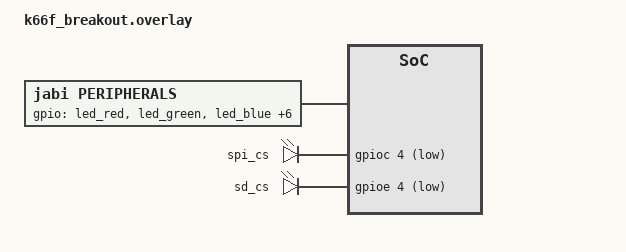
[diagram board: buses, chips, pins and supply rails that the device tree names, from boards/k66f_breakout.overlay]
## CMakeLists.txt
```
cmake_minimum_required(VERSION 3.20.0)

find_package(Zephyr REQUIRED HINTS $ENV{ZEPHYR_BASE})
project(jabi)

target_include_directories(app PRIVATE inc/)

FILE(GLOB_RECURSE app_sources src/*.c)
target_sources(app PRIVATE ${app_sources})

# can_mcan.c filters only work on ID and ID type and rest is done in software
# this is an issue if we want to receive FD and classic packets since one gets dropped
add_custom_target(
    apply_jabi_patch
    COMMAND git apply ${CMAKE_CURRENT_LIST_DIR}/zephyr.patch
    WORKING_DIRECTORY $ENV{ZEPHYR_BASE}
)
add_dependencies(version_h apply_jabi_patch)

add_custom_target(
    remove_jabi_patch ALL
    COMMAND git apply -R ${CMAKE_CURRENT_LIST_DIR}/zephyr.patch
    WORKING_DIRECTORY $ENV{ZEPHYR_BASE}
    DEPENDS zephyr_final
)
```

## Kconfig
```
menu "JABI"

config JABI_SERIAL
    string "device serial number string"
    default "69420"
    help
        must be non-empty

config JABI_USB_MPS
    int "max packet size of USB bulk transfers"
    default 512 if USB_DC_HAS_HS_SUPPORT
    default 64

config JABI_CAN_BUFFER_SIZE
    int "CAN buffer size"
    default 32
    help
        must be >0

config JABI_LIN_BUFFER_SIZE
    int "LIN buffer size"
    default 64
    help
        must be >0

config JABI_REQ_PAYLOAD_MAX_SIZE
    int "interface request payload maximum size"
    default 128
    help
        keep larger than largest packet (currently CAN)

config JABI_RESP_PAYLOAD_MAX_SIZE
    int "interface request payload maximum size"
    default 128
    help
        keep larger than largest packet (currently CAN)

config JABI_THREAD_STACK_SIZE
    int "stack size for interface threads"
    default 2048
    help
        make sure enough to hold request/response and the peripherals
        (tip: start this large and then reduce until it crashes)

config JABI_UART_RX_BUFFER_SIZE
    int "uart rx queue buffer size"
    default 256
    help
        keep larger than JABI_RESP_PAYLOAD_MAX_SIZE so can initiate reads
        that are that large

endmenu

menu "Zephyr"
source "Kconfig.zephyr"
endmenu
```

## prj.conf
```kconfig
CONFIG_COMMON_LIBC_MALLOC_ARENA_SIZE=512
```

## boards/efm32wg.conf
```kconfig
CONFIG_JABI_SERIAL="efm32wg 69420"

CONFIG_CONSOLE=n
CONFIG_UART_CONSOLE=n

# Interface settings
CONFIG_JABI_REQ_PAYLOAD_MAX_SIZE=4096
CONFIG_JABI_RESP_PAYLOAD_MAX_SIZE=4096
CONFIG_JABI_THREAD_STACK_SIZE=16384

CONFIG_UART_INTERRUPT_DRIVEN=y

# Peripheral settings
CONFIG_GPIO=y
```

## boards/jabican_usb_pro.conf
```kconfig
CONFIG_JABI_SERIAL="jabican_usb_pro 69420"

# Interface settings
CONFIG_JABI_REQ_PAYLOAD_MAX_SIZE=4096
CONFIG_JABI_RESP_PAYLOAD_MAX_SIZE=4096
CONFIG_JABI_THREAD_STACK_SIZE=16384

CONFIG_USB_DEVICE_STACK=y
CONFIG_USB_DEVICE_VID=0x0069
CONFIG_USB_DEVICE_PID=0x0420
CONFIG_USB_DEVICE_MANUFACTURER="JABI"
CONFIG_USB_DEVICE_PRODUCT="JABICAN-USB Pro"
CONFIG_USB_SELF_POWERED=n
CONFIG_USB_MAX_POWER=250

# Peripheral settings
CONFIG_CAN=y
CONFIG_CAN_ACCEPT_RTR=y
CONFIG_LIN=y
CONFIG_GPIO=y
```

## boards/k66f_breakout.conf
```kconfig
CONFIG_JABI_SERIAL="k66f breakout 69420"

# Interface settings
CONFIG_JABI_REQ_PAYLOAD_MAX_SIZE=8192
CONFIG_JABI_RESP_PAYLOAD_MAX_SIZE=8192
CONFIG_JABI_THREAD_STACK_SIZE=32768

CONFIG_USB_DEVICE_STACK=y
CONFIG_USB_DEVICE_VID=0x0069
CONFIG_USB_DEVICE_PID=0x0420
CONFIG_USB_DEVICE_MANUFACTURER="JABI"
CONFIG_USB_DEVICE_PRODUCT="K66F Breakout"
CONFIG_USB_SELF_POWERED=n
CONFIG_USB_MAX_POWER=250

# Peripheral settings
CONFIG_CAN=y
CONFIG_CAN_ACCEPT_RTR=y
CONFIG_I2C=y
CONFIG_GPIO=y
CONFIG_SPI=y

CONFIG_UART_INTERRUPT_DRIVEN=y
CONFIG_JABI_UART_RX_BUFFER_SIZE=16384
```

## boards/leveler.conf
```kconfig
CONFIG_JABI_SERIAL="leveler 69420"

# Interface settings
CONFIG_JABI_REQ_PAYLOAD_MAX_SIZE=16384
CONFIG_JABI_RESP_PAYLOAD_MAX_SIZE=16384
CONFIG_JABI_THREAD_STACK_SIZE=65536

CONFIG_USB_DEVICE_STACK=y
CONFIG_UART_INTERRUPT_DRIVEN=y

# Peripheral settings
CONFIG_I2C=y
CONFIG_GPIO=y
CONFIG_PWM=y
```

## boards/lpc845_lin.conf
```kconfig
CONFIG_JABI_SERIAL="lpc845_lin 69420"

CONFIG_CONSOLE=n
CONFIG_UART_CONSOLE=n

# Interface settings
CONFIG_JABI_REQ_PAYLOAD_MAX_SIZE=256
CONFIG_JABI_RESP_PAYLOAD_MAX_SIZE=256
CONFIG_JABI_THREAD_STACK_SIZE=1024

# Peripheral settings
CONFIG_LIN=y
CONFIG_GPIO=y

CONFIG_JABI_LIN_BUFFER_SIZE=32
```

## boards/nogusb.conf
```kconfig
CONFIG_CONSOLE=n
CONFIG_UART_CONSOLE=n

# Interface settings
CONFIG_JABI_REQ_PAYLOAD_MAX_SIZE=4096
CONFIG_JABI_RESP_PAYLOAD_MAX_SIZE=4096
CONFIG_JABI_THREAD_STACK_SIZE=16384

CONFIG_USB_DEVICE_STACK=y
CONFIG_USB_DEVICE_VID=0x0069
CONFIG_USB_DEVICE_PID=0x0420
CONFIG_USB_DEVICE_MANUFACTURER="JABI"
CONFIG_USB_DEVICE_PRODUCT="NOGUSB"
CONFIG_USB_SELF_POWERED=n
CONFIG_USB_MAX_POWER=250

# Peripheral settings
CONFIG_CAN=y
CONFIG_CAN_FD_MODE=y
CONFIG_CAN_ACCEPT_RTR=y
CONFIG_I2C=y
CONFIG_GPIO=y
CONFIG_ADC=y
CONFIG_DAC=y
CONFIG_SPI=y

CONFIG_UART_INTERRUPT_DRIVEN=y
CONFIG_JABI_UART_RX_BUFFER_SIZE=8192
```

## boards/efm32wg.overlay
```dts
/ {
    interfaces {
        compatible = "jabi,interfaces";
        uart = <&usart2>;
    };

    peripherals {
        compatible = "jabi,peripherals";
        gpio = <&led_red &led_green &led_blue &user_button>;
    };
};

&usart2 {
    current-speed = <230400>;
};
```

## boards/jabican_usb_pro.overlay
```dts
/ {
    interfaces {
        compatible = "jabi,interfaces";
        usb;
        uart = <>;
    };

    peripherals {
        compatible = "jabi,peripherals";
        can = <&flexcan0>;
        lin = <&lin0>;
        gpio = <&led_red &led_green &led_blue &btn0 &btn1 &btn2
                &lin_cmdr_en &lin_pwr_en &can_pwr_en>;
    };
};
```

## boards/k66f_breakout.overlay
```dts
/ {
    interfaces {
        compatible = "jabi,interfaces";
        usb;
        uart = <>;
    };

    peripherals {
        compatible = "jabi,peripherals";
        can = <&flexcan0>;
        i2c = <&i2c0>;
        gpio = <&led_red &led_green &led_blue &user_button &sd_detect &usbid_0 &usbid_1 &sd_cs &spi_cs>;
        spi = <&spi0 &spi1>;
    };

    leds {
        spi_cs: spi_cs {
            gpios = <&gpioc 4 GPIO_ACTIVE_LOW>;
        };
        sd_cs: sd_cs {
            gpios = <&gpioe 4 GPIO_ACTIVE_LOW>;
        };
    };
};

&spi0 {
    /delete-property/ cs-gpios;
};

&spi1 {
    /delete-property/ cs-gpios;
};

&sdhc0 {
    status = "disabled";
};
```

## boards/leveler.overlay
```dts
/ {
    interfaces {
        compatible = "jabi,interfaces";
        uart = <&cdc_acm_uart0>;
    };

    peripherals {
        compatible = "jabi,peripherals";
        i2c = <&i2c1>;
        gpio = <&led_red &led_green &led_blue &user_button>;
        pwm = <&led_red_pwm &led_green_pwm &led_blue_pwm>;
    };
};

&zephyr_udc0 {
    cdc_acm_uart0: cdc_acm_uart0 {
        compatible = "zephyr,cdc-acm-uart";
    };
};
```

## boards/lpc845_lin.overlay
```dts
/ {
    interfaces {
        compatible = "jabi,interfaces";
        uart = <&uart0>;
    };

    peripherals {
        compatible = "jabi,peripherals";
        lin = <&lin0 &lin1 &lin2 &lin3>;
        gpio = <&led_r &led_g &led_b &pwr_en>;
    };
};

&uart0 {
    current-speed = <57600>; // losing bytes when higher
};
```

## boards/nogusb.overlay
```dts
/ {
    interfaces {
        compatible = "jabi,interfaces";
        usb;
        uart = <>;
    };

    peripherals {
        compatible = "jabi,peripherals";
        can = <&fdcan1>;
        i2c = <&i2c2>;
        gpio = <&led_red &led_green &led_blue &dbg_1 &dbg_2>;
        adc {
            compatible = "jabi,adc";
            devices     = <&adc1>;
            channels    = <1>;
            resolutions = <12>;
            vrefs-mv    = <36300>; // voltage divider!
        };
        dac {
            compatible = "jabi,dac";
            devices     = <&dac1>;
            channels    = <2>;
            resolutions = <12>;
            vrefs-mv    = <3300>;
        };
        spi = <&spi2>;
        uart = <&usart5>;
    };
};

&usart5 {
    pinctrl-0 = <&usart5_tx_pb0 &usart5_rx_pb1>;
};
```

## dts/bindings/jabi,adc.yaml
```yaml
description: list of ADC channels and settings

include: base.yaml

compatible: "jabi,adc"

properties:
  devices:
    type: phandles
    required: true

  channels:
    type: array
    required: true

  resolutions:
    type: array
    required: true

  vrefs-mv:
    type: array
    required: true
```

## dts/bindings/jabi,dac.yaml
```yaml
description: list of DAC channels and settings

include: base.yaml

compatible: "jabi,dac"

properties:
  devices:
    type: phandles
    required: true

  channels:
    type: array
    required: true

  resolutions:
    type: array
    required: true

  vrefs-mv:
    type: array
    required: true
```

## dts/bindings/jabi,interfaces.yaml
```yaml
description: Interfaces to listen on

include: base.yaml

compatible: "jabi,interfaces"

properties:
  usb:
    type: boolean

  uart:
    type: phandles
    required: true
```

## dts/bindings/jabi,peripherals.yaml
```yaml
description: Peripherals to provide access to

include: base.yaml

compatible: "jabi,peripherals"

properties:
  can:
    type: phandles

  i2c:
    type: phandles

  gpio:
    type: phandles

  pwm:
    type: phandles

  spi:
    type: phandles

  uart:
    type: phandles

  lin:
    type: phandles
```

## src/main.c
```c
#include <zephyr/kernel.h>
#include <zephyr/sys/slist.h>
#include <zephyr/usb/usb_device.h>
#include <stdlib.h>
#include <jabi.h>

#include <zephyr/logging/log.h>
LOG_MODULE_REGISTER(jabi, CONFIG_LOG_DEFAULT_LEVEL);

#define LOCK_TIMEOUT K_MSEC(100)

extern const struct iface_api_t *interfaces[];
extern const struct periph_api_t *peripherals[];

typedef struct {
    sys_snode_t node;
    void* dev;
    struct k_sem lock;
} dev_lock_t;

sys_slist_t dev_locks;
struct k_sem **peripheral_locks[NUM_PERIPHERALS];

K_THREAD_STACK_ARRAY_DEFINE(thread_stack, NUM_INTERFACES, CONFIG_JABI_THREAD_STACK_SIZE);
struct k_thread thread_data[NUM_INTERFACES];

void process_interface(void* p1, void* p2, void* p3) {
    const struct iface_api_t *iface = (const struct iface_api_t*) p1;
    
    if (iface->init()) {
        LOG_ERR("failed to start interface %s", iface->name);
        return;
    }
    LOG_INF("started processing interface %s", iface->name);

    iface_req_t req;
    iface_resp_t resp;
    while (1) {
        /* CPU endianness assumed for non-payload members */
        iface->get_req(&req);
        LOG_DBG("%s recvd msg id: %d idx: %d fn: %d",
                iface->name, req.periph_id, req.periph_idx, req.periph_fn);

        uint16_t payload_len = 0;

        if (req.periph_id >= NUM_PERIPHERALS) {
            LOG_ERR("%s invalid peripheral id %d", iface->name, req.periph_id);
            resp.retcode = JABI_NOT_SUPPORTED_ERR;
            goto send_resp;
        }

        const struct periph_api_t *api = peripherals[req.periph_id];

        if (req.periph_idx >= api->num_idx) {
            LOG_ERR("%s invalid peripheral index %d", iface->name, req.periph_idx);
            resp.retcode = JABI_NOT_SUPPORTED_ERR;
            goto send_resp;
        }

        if (req.periph_fn >= api->num_fns) {
            LOG_ERR("%s invalid peripheral function id %d", iface->name, req.periph_fn);
            resp.retcode = JABI_NOT_SUPPORTED_ERR;
            goto send_resp;
        }

        struct k_sem *lock = peripheral_locks[req.periph_id][req.periph_idx];
        if (k_sem_take(lock, LOCK_TIMEOUT)) {
            LOG_ERR("%s failed to acquire lock for %d %d",
                iface->name, req.periph_id, req.periph_idx);
            resp.retcode = JABI_BUSY_ERR;
            goto send_resp;
        }
        resp.retcode = api->fns[req.periph_fn](req.periph_idx, 
                                               req.payload, req.payload_len,
                                               resp.payload, &payload_len);
        k_sem_give(lock);

        if (resp.retcode) {
            LOG_ERR("%s peripheral function error %d", iface->name, resp.retcode);
            payload_len = 0;
        }

send_resp:
        resp.payload_len = payload_len;
        iface->send_resp(&resp);
    }
}

int main() {
#if IS_ENABLED(CONFIG_USB_DEVICE_STACK)
    usb_enable(NULL);
#endif

    sys_slist_init(&dev_locks);
    for (int i = 0; i < NUM_PERIPHERALS; i++) {
        if (peripherals[i]->num_idx == 0) {
            continue;
        }
        if ((peripheral_locks[i] =
                malloc(sizeof(struct k_sem*) * peripherals[i]->num_idx)) == NULL) {
            LOG_ERR("failed to allocate array of lock pointers, time to die");
            return -1;
        }
        for (int j = 0; j < peripherals[i]->num_idx; j++) {
            peripheral_locks[i][j] = NULL;
            sys_snode_t *n;
            SYS_SLIST_FOR_EACH_NODE(&dev_locks, n) {
                dev_lock_t *d = CONTAINER_OF(n, dev_lock_t, node);
                if (d->dev == peripherals[i]->get_dev(j)) {
                    peripheral_locks[i][j] = &d->lock;
                    break;
                }
            }
            if (peripheral_locks[i][j] == NULL) {
                dev_lock_t *d;
                if ((d = malloc(sizeof(dev_lock_t))) == NULL) {
                    LOG_ERR("failed to allocate lock");
                    return -1;
                }
                d->dev = peripherals[i]->get_dev(j);
                k_sem_init(&d->lock, 1, 1);
                peripheral_locks[i][j] = &d->lock;
                sys_slist_prepend(&dev_locks, &d->node);
            }
            if (peripherals[i]->init(j)) {
                LOG_ERR("failed to initialize peripheral %s%d, time to die",
                    peripherals[i]->name, j);
                return -1;
            }
        }
    }

    for (int i = 0; i < NUM_INTERFACES; i++) {
        k_thread_create(&thread_data[i], thread_stack[i], CONFIG_JABI_THREAD_STACK_SIZE,
                        process_interface, (void*) interfaces[i], NULL, NULL,
                        K_PRIO_PREEMPT(0), 0, K_NO_WAIT);
    }
    return 0;
}
```

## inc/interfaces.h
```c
#ifndef INTERFACES_H
#define INTERFACES_H

#include <stdint.h>

#define REQ_PAYLOAD_MAX_SIZE   512
#define RESP_PAYLOAD_MAX_SIZE  512

typedef struct {
    uint16_t periph_id;
    uint16_t periph_idx;
    uint16_t periph_fn;
    uint16_t payload_len;
    uint8_t payload[REQ_PAYLOAD_MAX_SIZE];
} __attribute__((packed)) iface_req_t;

typedef struct {
    int16_t retcode;
    uint16_t payload_len;
    uint8_t payload[RESP_PAYLOAD_MAX_SIZE];
} __attribute__((packed)) iface_resp_t;

typedef void (*iface_init_t)(void);
typedef void (*iface_get_req_t)(iface_req_t *req);
typedef void (*iface_send_resp_t)(iface_resp_t *resp);

struct iface_api_t {
    iface_init_t init;
    iface_get_req_t get_req;
    iface_send_resp_t send_resp;
    const char *name;
};

#define IFACE_REQ_HDR_SIZE  (sizeof(iface_req_t) - REQ_PAYLOAD_MAX_SIZE)
#define IFACE_RESP_HDR_SIZE (sizeof(iface_resp_t) - RESP_PAYLOAD_MAX_SIZE)

extern void iface_req_to_le(iface_req_t *req);
extern void iface_resp_to_le(iface_resp_t *resp);

#define CHECK_REQ_PAYLOAD_SIZE(x)  BUILD_ASSERT(sizeof(x) < REQ_PAYLOAD_MAX_SIZE)
#define CHECK_RESP_PAYLOAD_SIZE(x) BUILD_ASSERT(sizeof(x) < RESP_PAYLOAD_MAX_SIZE)

enum {
    JABI_NO_ERR = 0,
    JABI_NOT_SUPPORTED_ERR,
    JABI_INVALID_ARGS_FORMAT_ERR,
};

#endif // INTERFACES_H
```

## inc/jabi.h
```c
#ifndef JABI_H
#define JABI_H

#include <zephyr/device.h>
#include <jabi/error.h>
#include <jabi/interfaces.h>
#include <jabi/peripherals.h>

#define JABI_IFACE_NODE  DT_COMPAT_GET_ANY_STATUS_OKAY(jabi_interfaces)
#define JABI_PERIPH_NODE DT_COMPAT_GET_ANY_STATUS_OKAY(jabi_peripherals)
#define JABI_ADC_NODE    DT_COMPAT_GET_ANY_STATUS_OKAY(jabi_adc)
#define JABI_DAC_NODE    DT_COMPAT_GET_ANY_STATUS_OKAY(jabi_dac)

#define NUM_INTERFACES (DT_PROP(JABI_IFACE_NODE, usb) + \
                        DT_PROP_LEN(JABI_IFACE_NODE, uart))

extern void iface_req_to_le(iface_req_t *req);
extern void iface_resp_to_le(iface_resp_t *resp);

#define ELEM_TO_DEVICE(node_id, prop, idx) \
    DEVICE_DT_GET(DT_PROP_BY_IDX(node_id, prop, idx)),

#define ELEM_TO_GPIO(node_id, prop, idx) \
    GPIO_DT_SPEC_GET(DT_PROP_BY_IDX(node_id, prop, idx), gpios),

#define ELEM_TO_PWM(node_id, prop, idx) \
    PWM_DT_SPEC_GET(DT_PROP_BY_IDX(node_id, prop, idx)),

#endif // JABI_H
```

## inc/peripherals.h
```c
#ifndef PERIPHERALS_H
#define PERIPHERALS_H

#include <stdint.h>

typedef int16_t (*periph_func_t)(uint16_t idx, uint8_t *req, uint16_t req_len,
                                 uint8_t *resp, uint16_t *resp_len);

struct periph_api_t {
    periph_func_t *fns;
    uint16_t num_fns;
    uint16_t num_idx;
    const char *name;
};

/* Peripheral indices */
#define PERIPH_METADATA_ID 0

#define NUM_PERIPHERALS 1

/* Helpers */
#define PERIPH_FUNC_DEF(fn) static int16_t fn(uint16_t idx,                      \
                                              uint8_t *req, uint16_t req_len,    \
                                              uint8_t *resp, uint16_t *resp_len)

#define PERIPH_FUNC_GET_ARGS(p, fn) p##_##fn##_req_t *args = (p##_##fn##_req_t*) req
#define PERIPH_FUNC_GET_RET(p, fn)  p##_##fn##_resp_t *ret = (p##_##fn##_resp_t*) resp

#define PERIPH_FUNC_CHECK_ARGS_LEN(p, fn)      \
    if (req_len != sizeof(p##_##fn##_req_t)) { \
        return JABI_INVALID_ARGS_FORMAT_ERR;   \
    }

#define PERIPH_FUNC_CHECK_ARGS_EMPTY \
    if (req_len != 0) { return JABI_INVALID_ARGS_FORMAT_ERR; }

#endif
```
